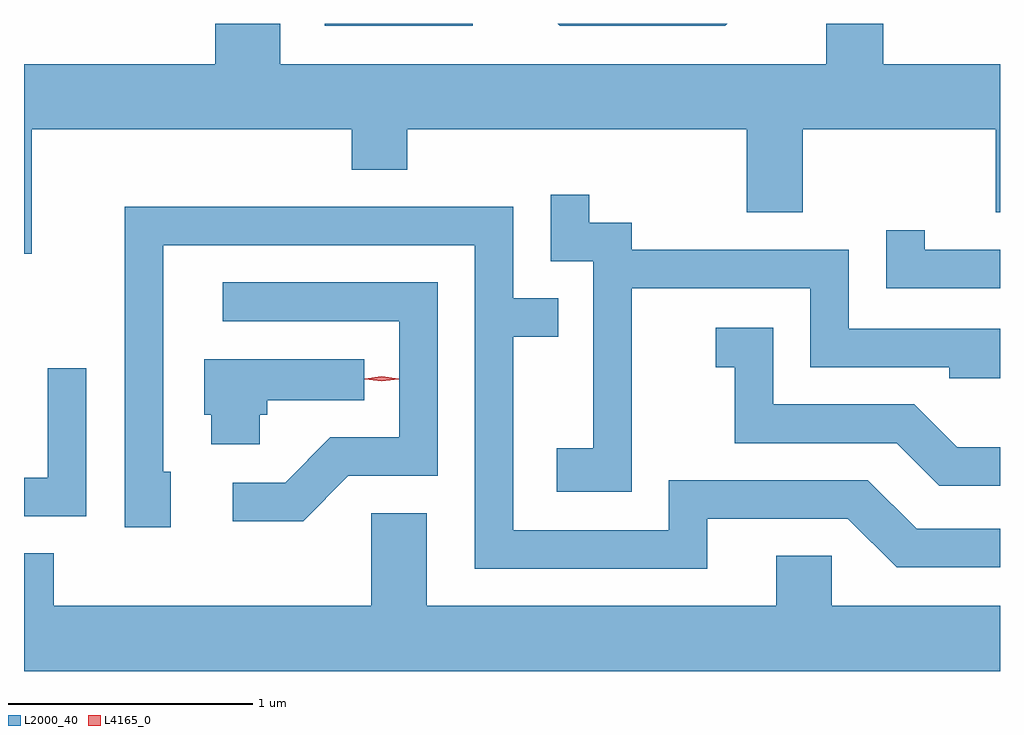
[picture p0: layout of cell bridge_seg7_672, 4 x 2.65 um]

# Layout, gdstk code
import gdstk
lib = gdstk.Library(unit=1e-6, precision=1e-09)
def R(c, l, rs):  # rectangles x0, y0, x1, y1
    for r in rs: c.add(gdstk.rectangle(r[:2], r[2:], *l))
def P(c, l, *ps):  # polygons
    for p in ps: c.add(gdstk.Polygon(p, *l))
L2000_40 = (2000, 40)
L4165_0 = (4165, 0)

bridge_seg7_672 = lib.new_cell('bridge_seg7_672')
R(bridge_seg7_672, L2000_40, [(961.681,1696.981,962.288,1696.989)])
P(bridge_seg7_672, L2000_40, [(960.479,1696.556),(961.791,1696.556),(961.791,1696.391),(962.019,1696.391),(962.019,1696.556),(963.411,1696.556),(963.411,1696.216),(963.639,1696.216),(963.639,1696.556),(964.431,1696.556),(964.431,1696.216),(964.448,1696.216),(964.448,1696.824),(963.969,1696.824),(963.969,1696.989),(963.736,1696.989),(963.736,1696.824),(961.499,1696.824),(961.499,1696.989),(961.231,1696.989),(961.231,1696.824),(960.448,1696.824),(960.448,1696.046),(960.479,1696.046)],
  [(963.33,1696.989),(962.636,1696.989),(962.644,1696.981),(963.322,1696.981)],
  [(962.939,1695.906),(963.671,1695.906),(963.671,1695.581),(964.241,1695.581),(964.241,1695.536),(964.448,1695.536),(964.448,1695.739),(963.829,1695.739),(963.829,1696.064),(962.939,1696.064),(962.939,1696.174),(962.764,1696.174),(962.764,1696.288),(962.606,1696.288),(962.606,1696.016),(962.781,1696.016),(962.781,1695.249),(962.631,1695.249),(962.631,1695.071),(962.939,1695.071)],
  [(963.249,1694.961),(963.824,1694.961),(964.024,1694.761),(964.448,1694.761),(964.448,1694.919),(964.107,1694.919),(963.907,1695.119),(963.091,1695.119),(963.091,1694.914),(962.454,1694.914),(962.454,1695.706),(962.638,1695.706),(962.638,1695.864),(962.454,1695.864),(962.454,1696.239),(960.861,1696.239),(960.861,1694.926),(961.049,1694.926),(961.049,1695.154),(961.019,1695.154),(961.019,1696.081),(962.296,1696.081),(962.296,1694.756),(963.249,1694.756)],
  [(964.448,1696.064),(964.139,1696.064),(964.139,1696.143),(963.981,1696.143),(963.981,1695.906),(964.448,1695.906)],
  [(961.777,1695.136),(962.144,1695.136),(962.144,1695.929),(961.263,1695.929),(961.263,1695.771),(961.986,1695.771),(961.986,1695.294),(961.704,1695.294),(961.519,1695.109),(961.303,1695.109),(961.303,1694.951),(961.592,1694.951)],
  [(964.448,1695.254),(964.272,1695.254),(964.097,1695.429),(963.519,1695.429),(963.519,1695.744),(963.283,1695.744),(963.283,1695.581),(963.361,1695.581),(963.361,1695.271),(964.024,1695.271),(964.199,1695.096),(964.448,1695.096)],
  [(961.414,1695.386),(961.444,1695.386),(961.444,1695.446),(961.843,1695.446),(961.843,1695.614),(961.186,1695.614),(961.186,1695.386),(961.216,1695.386),(961.216,1695.266),(961.414,1695.266)],
  [(960.704,1695.578),(960.546,1695.578),(960.546,1695.129),(960.448,1695.129),(960.448,1694.971),(960.704,1694.971)],
  [(964.448,1694.604),(963.759,1694.604),(963.759,1694.809),(963.531,1694.809),(963.531,1694.604),(962.099,1694.604),(962.099,1694.984),(961.871,1694.984),(961.871,1694.604),(960.569,1694.604),(960.569,1694.819),(960.448,1694.819),(960.448,1694.336),(964.448,1694.336)])
P(bridge_seg7_672, L4165_0, [(961.914,1695.524),(961.844,1695.533),(961.844,1695.534),(961.844,1695.534),(961.914,1695.544),(961.983,1695.534),(961.983,1695.534),(961.983,1695.533)],
  [(961.914,1695.524),(961.847,1695.533),(961.847,1695.534),(961.847,1695.534),(961.914,1695.544),(961.98,1695.534),(961.981,1695.534),(961.98,1695.533)])

lib.write_gds('bridge_seg7_672.gds')
